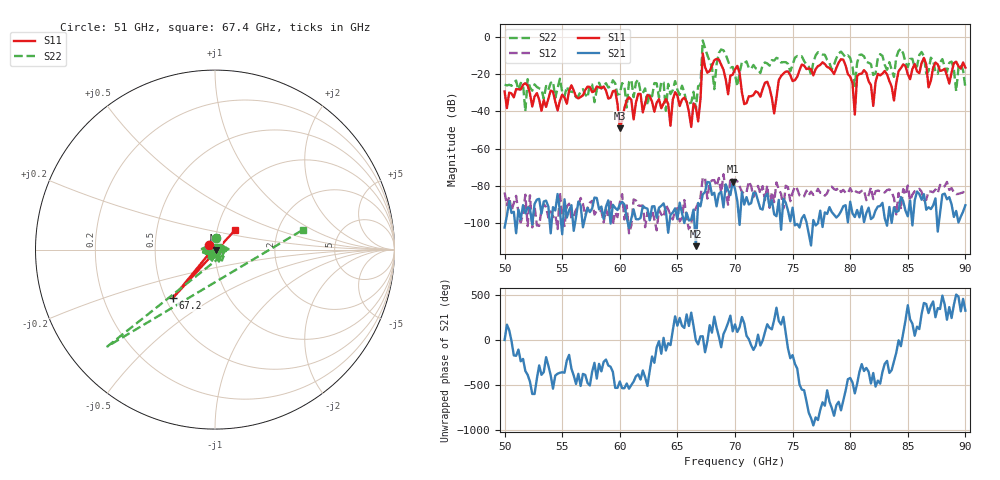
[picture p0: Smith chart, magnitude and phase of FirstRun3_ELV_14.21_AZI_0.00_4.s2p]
! 11/24/2026 3:29:13 PM
! C:\ANRITSUVNA\TEMP\TEMP.S2P
! CHANNEL.1
! TR.MEASUREMENT
! RAW.DATA
# HZ S RI R 50.0
! FREQ.HZ  S11RE  S11IM  S21RE  S21IM  S12RE  S12IM  S22RE  S22IM
!; PortSelection: Port_12
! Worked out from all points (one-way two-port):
!   201 points, 50 GHz to 90 GHz, reference 50 ohm
!   highest |S21| = -77.71 dB at 69.8 GHz (marker M1); lowest = -112.4 dB at 66.6 GHz (marker M2)
!   lowest |S11| = -49.0 dB at 60 GHz (marker M3), VSWR 1.01, Z = 50.3 - j0.157 ohm
!   |S11| at or under -10 dB: start of sweep to 67.19 GHz; 67.23 GHz to end of sweep
!   |S22| runs from -39.9 to -1.9 dB; largest |S21 - S12| = 0.00023
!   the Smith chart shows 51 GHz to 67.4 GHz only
!   S11 on the Smith chart (normalised r, x): 51 GHz: 0.94, +0.05; 67.2 GHz: 0.54, -0.34; 67.4 GHz: 1.22, +0.27
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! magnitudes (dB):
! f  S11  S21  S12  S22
! 50 GHz  -29.3  -102.4  -83.5  -25.6
! 51 GHz  -28.0  -105.4  -85.4  -23.4
! 56.8 GHz  -31.4  -102.3  -89.7  -28.0
! 59.6 GHz  -28.8  -91.9  -94.2  -25.0
! 60 GHz  -49.0  -90.0  -89.0  -30.5
! 63.4 GHz  -33.4  -91.8  -92.8  -32.6
! 66.6 GHz  -37.6  -112.4  -92.1  -38.6
! 66.8 GHz  -45.4  -89.2  -89.3  -26.4
! 67.2 GHz  -8.9  -84.6  -75.6  -1.9
! 67.4 GHz  -16.1  -83.2  -75.7  -5.9
! 68.2 GHz  -12.5  -83.7  -76.9  -28.0
! 68.8 GHz  -14.8  -83.2  -83.7  -6.7
! 69.8 GHz  -20.3  -77.7  -77.1  -16.1
! 70 GHz  -17.4  -81.7  -76.7  -19.9
! 73.4 GHz  -41.1  -95.3  -88.7  -12.6
! 74.2 GHz  -19.7  -86.9  -92.2  -13.5
! 76.8 GHz  -20.6  -98.4  -84.9  -13.6
! 79.4 GHz  -12.2  -90.9  -82.2  -9.4
! 80.4 GHz  -41.7  -96.8  -82.7  -26.3
! 80.6 GHz  -21.0  -92.9  -83.4  -14.0
! 83.4 GHz  -23.7  -91.3  -81.9  -13.5
! 90 GHz  -16.4  -90.4  -81.3  -27.3
